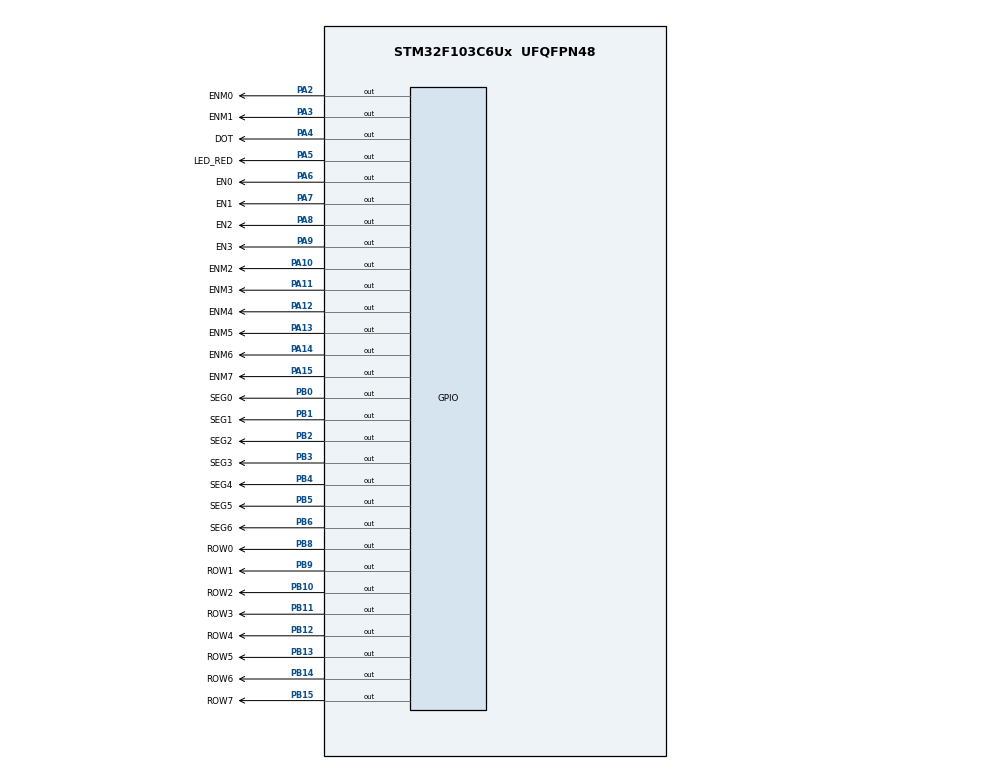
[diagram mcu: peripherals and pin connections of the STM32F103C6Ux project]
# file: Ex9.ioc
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Mcu.Family=STM32F1
Mcu.Name=STM32F103C6Ux
Mcu.Package=UFQFPN48
NVIC.PriorityGroup=NVIC_PRIORITYGROUP_4
NVIC.TIM2_IRQn=true\:0\:0\:false\:false\:true\:true\:true
PA10.GPIO_Label=ENM2
PA10.Signal=GPIO_Output
PA11.GPIO_Label=ENM3
PA11.Signal=GPIO_Output
PA12.GPIO_Label=ENM4
PA12.Signal=GPIO_Output
PA13.GPIO_Label=ENM5
PA13.Signal=GPIO_Output
PA14.GPIO_Label=ENM6
PA14.Signal=GPIO_Output
PA15.GPIO_Label=ENM7
PA15.Signal=GPIO_Output
PA2.GPIO_Label=ENM0
PA2.Signal=GPIO_Output
PA3.GPIO_Label=ENM1
PA3.Signal=GPIO_Output
PA4.GPIO_Label=DOT
PA4.Signal=GPIO_Output
PA5.GPIO_Label=LED_RED
PA5.Signal=GPIO_Output
PA6.GPIO_Label=EN0
PA6.Signal=GPIO_Output
PA7.GPIO_Label=EN1
PA7.Signal=GPIO_Output
PA8.GPIO_Label=EN2
PA8.Signal=GPIO_Output
PA9.GPIO_Label=EN3
PA9.Signal=GPIO_Output
PB0.GPIO_Label=SEG0
PB0.Signal=GPIO_Output
PB1.GPIO_Label=SEG1
PB1.Signal=GPIO_Output
PB10.GPIO_Label=ROW2
PB10.Signal=GPIO_Output
PB11.GPIO_Label=ROW3
PB11.Signal=GPIO_Output
PB12.GPIO_Label=ROW4
PB12.Signal=GPIO_Output
PB13.GPIO_Label=ROW5
PB13.Signal=GPIO_Output
PB14.GPIO_Label=ROW6
PB14.Signal=GPIO_Output
PB15.GPIO_Label=ROW7
PB15.Signal=GPIO_Output
PB2.GPIO_Label=SEG2
PB2.Signal=GPIO_Output
PB3.GPIO_Label=SEG3
PB3.Signal=GPIO_Output
PB4.GPIO_Label=SEG4
PB4.Signal=GPIO_Output
PB5.GPIO_Label=SEG5
PB5.Signal=GPIO_Output
PB6.GPIO_Label=SEG6
PB6.Signal=GPIO_Output
PB8.GPIO_Label=ROW0
PB8.Signal=GPIO_Output
PB9.GPIO_Label=ROW1
PB9.Signal=GPIO_Output
ProjectManager.HeapSize=0x200
ProjectManager.StackSize=0x400
ProjectManager.TargetToolchain=STM32CubeIDE
RCC.APB1Freq_Value=8000000
RCC.APB2Freq_Value=8000000
TIM2.Period=9
TIM2.Prescaler=7999
VP_SYS_VS_ND.Mode=No_Debug
VP_TIM2_VS_ClockSourceINT.Mode=Internal
board=custom

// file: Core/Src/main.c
/* USER CODE BEGIN Header */
/**
  ******************************************************************************
  * @file           : main.c
  * @brief          : Main program body
  ******************************************************************************
  * @attention
  *
  * <h2><center>&copy; Copyright (c) 2026 STMicroelectronics.
  * All rights reserved.</center></h2>
  *
  * This software component is licensed by ST under BSD 3-Clause license,
  * the "License"; You may not use this file except in compliance with the
  * License. You may obtain a copy of the License at:
  *                        opensource.org/licenses/BSD-3-Clause
  *
  ******************************************************************************
  */
/* USER CODE END Header */
#include "main.h"

/* USER CODE BEGIN Includes */
#include "led7seg.h"
#include "software_timer.h"
#include "led_matrix.h"
/* USER CODE END Includes */

TIM_HandleTypeDef htim2;

void SystemClock_Config(void);
static void MX_GPIO_Init(void);
static void MX_TIM2_Init(void);

int main(void)
{

  /* MCU Configuration--------------------------------------------------------*/

  /* Reset of all peripherals, Initializes the Flash interface and the Systick. */
  HAL_Init();

  /* Configure the system clock */
  SystemClock_Config();

  /* Initialize all configured peripherals */
  MX_GPIO_Init();
  MX_TIM2_Init();
  /* USER CODE BEGIN 2 */
  HAL_TIM_Base_Start_IT(&htim2);
  int hour = 15, minute = 8, second = 50;
  updateClockBuffer(hour, minute);

  update7SEG(index_led++);
  updateLEDMatrix(index_led_matrix++);

  setTimer0(1000);  // line test for report 1,2,3
  setTimer1(10);
  setTimer2(10);
  /* USER CODE END 2 */

  /* Infinite loop */
  /* USER CODE BEGIN WHILE */
  while (1)
  {
	  if (timer0_flag == 1) {

		  setTimer0(1000);

		  HAL_GPIO_TogglePin(DOT_GPIO_Port, DOT_Pin);
		  HAL_GPIO_TogglePin(LED_RED_GPIO_Port, LED_RED_Pin);

		  second++;
		  if (second >= 60) {
			  second = 0;
			  minute++;
		  }
		  if (minute >= 60) {
			  minute = 0;
			  hour++;
		  }
		  if (hour >= 24) {
			  hour = 0;
		  }
		  updateClockBuffer(hour, minute);

		  //shiftLeftLEDMatrix(); //
	  }

	  if (timer1_flag == 1) {
		  setTimer1(250);

		  update7SEG(index_led++);
		  if (index_led >= MAX_LED) {
			  index_led = 0;
		  }
	  }

	  if (timer2_flag == 1) {
		  setTimer2(10);
		  updateLEDMatrix(index_led_matrix++);

		  if (index_led_matrix >= MAX_LED_MATRIX) {
			  index_led_matrix = 0;

			  //shiftLeftLEDMatrix();
		  }
	  }
    /* USER CODE END WHILE */

  }
}

void SystemClock_Config(void)
{
  RCC_OscInitTypeDef RCC_OscInitStruct = {0};
  RCC_ClkInitTypeDef RCC_ClkInitStruct = {0};

  /** Initializes the RCC Oscillators according to the specified parameters
  * in the RCC_OscInitTypeDef structure.
  */
  RCC_OscInitStruct.OscillatorType = RCC_OSCILLATORTYPE_HSI;
  RCC_OscInitStruct.HSIState = RCC_HSI_ON;
  RCC_OscInitStruct.HSICalibrationValue = RCC_HSICALIBRATION_DEFAULT;
  RCC_OscInitStruct.PLL.PLLState = RCC_PLL_NONE;
  if (HAL_RCC_OscConfig(&RCC_OscInitStruct) != HAL_OK)
  {
    Error_Handler();
  }
  /** Initializes the CPU, AHB and APB buses clocks
  */
  RCC_ClkInitStruct.ClockType = RCC_CLOCKTYPE_HCLK|RCC_CLOCKTYPE_SYSCLK
                              |RCC_CLOCKTYPE_PCLK1|RCC_CLOCKTYPE_PCLK2;
  RCC_ClkInitStruct.SYSCLKSource = RCC_SYSCLKSOURCE_HSI;
  RCC_ClkInitStruct.AHBCLKDivider = RCC_SYSCLK_DIV1;
  RCC_ClkInitStruct.APB1CLKDivider = RCC_HCLK_DIV1;
  RCC_ClkInitStruct.APB2CLKDivider = RCC_HCLK_DIV1;

  if (HAL_RCC_ClockConfig(&RCC_ClkInitStruct, FLASH_LATENCY_0) != HAL_OK)
  {
    Error_Handler();
  }
}

static void MX_TIM2_Init(void)
{

  TIM_ClockConfigTypeDef sClockSourceConfig = {0};
  TIM_MasterConfigTypeDef sMasterConfig = {0};

  htim2.Instance = TIM2;
  htim2.Init.Prescaler = 7999;
  htim2.Init.CounterMode = TIM_COUNTERMODE_UP;
  htim2.Init.Period = 9;
  htim2.Init.ClockDivision = TIM_CLOCKDIVISION_DIV1;
  htim2.Init.AutoReloadPreload = TIM_AUTORELOAD_PRELOAD_DISABLE;
  if (HAL_TIM_Base_Init(&htim2) != HAL_OK)
  {
    Error_Handler();
  }
  sClockSourceConfig.ClockSource = TIM_CLOCKSOURCE_INTERNAL;
  if (HAL_TIM_ConfigClockSource(&htim2, &sClockSourceConfig) != HAL_OK)
  {
    Error_Handler();
  }
  sMasterConfig.MasterOutputTrigger = TIM_TRGO_RESET;
  sMasterConfig.MasterSlaveMode = TIM_MASTERSLAVEMODE_DISABLE;
  if (HAL_TIMEx_MasterConfigSynchronization(&htim2, &sMasterConfig) != HAL_OK)
  {
    Error_Handler();
  }

}

static void MX_GPIO_Init(void)
{
  GPIO_InitTypeDef GPIO_InitStruct = {0};

  /* GPIO Ports Clock Enable */
  __HAL_RCC_GPIOA_CLK_ENABLE();
  __HAL_RCC_GPIOB_CLK_ENABLE();

  /*Configure GPIO pin Output Level */
  HAL_GPIO_WritePin(GPIOA, ENM0_Pin|ENM1_Pin|DOT_Pin|LED_RED_Pin
                          |EN0_Pin|EN1_Pin|EN2_Pin|EN3_Pin
                          |ENM2_Pin|ENM3_Pin|ENM4_Pin|ENM5_Pin
                          |ENM6_Pin|ENM7_Pin, GPIO_PIN_RESET);

  /*Configure GPIO pin Output Level */
  HAL_GPIO_WritePin(GPIOB, SEG0_Pin|SEG1_Pin|SEG2_Pin|ROW2_Pin
                          |ROW3_Pin|ROW4_Pin|ROW5_Pin|ROW6_Pin
                          |ROW7_Pin|SEG3_Pin|SEG4_Pin|SEG5_Pin
                          |SEG6_Pin|ROW0_Pin|ROW1_Pin, GPIO_PIN_RESET);

  /*Configure GPIO pins : ENM0_Pin ENM1_Pin DOT_Pin LED_RED_Pin
                           EN0_Pin EN1_Pin EN2_Pin EN3_Pin
                           ENM2_Pin ENM3_Pin ENM4_Pin ENM5_Pin
                           ENM6_Pin ENM7_Pin */
  GPIO_InitStruct.Pin = ENM0_Pin|ENM1_Pin|DOT_Pin|LED_RED_Pin
                          |EN0_Pin|EN1_Pin|EN2_Pin|EN3_Pin
                          |ENM2_Pin|ENM3_Pin|ENM4_Pin|ENM5_Pin
                          |ENM6_Pin|ENM7_Pin;
  GPIO_InitStruct.Mode = GPIO_MODE_OUTPUT_PP;
  GPIO_InitStruct.Pull = GPIO_NOPULL;
  GPIO_InitStruct.Speed = GPIO_SPEED_FREQ_LOW;
  HAL_GPIO_Init(GPIOA, &GPIO_InitStruct);

  /*Configure GPIO pins : SEG0_Pin SEG1_Pin SEG2_Pin ROW2_Pin
                           ROW3_Pin ROW4_Pin ROW5_Pin ROW6_Pin
                           ROW7_Pin SEG3_Pin SEG4_Pin SEG5_Pin
                           SEG6_Pin ROW0_Pin ROW1_Pin */
  GPIO_InitStruct.Pin = SEG0_Pin|SEG1_Pin|SEG2_Pin|ROW2_Pin
                          |ROW3_Pin|ROW4_Pin|ROW5_Pin|ROW6_Pin
                          |ROW7_Pin|SEG3_Pin|SEG4_Pin|SEG5_Pin
                          |SEG6_Pin|ROW0_Pin|ROW1_Pin;
  GPIO_InitStruct.Mode = GPIO_MODE_OUTPUT_PP;
  GPIO_InitStruct.Pull = GPIO_NOPULL;
  GPIO_InitStruct.Speed = GPIO_SPEED_FREQ_LOW;
  HAL_GPIO_Init(GPIOB, &GPIO_InitStruct);

}

/* USER CODE BEGIN 4 */
int counter_7seg = 1;
//int counter_dot = 100; // 100*10ms = 1000ms (1s)

void HAL_TIM_PeriodElapsedCallback(TIM_HandleTypeDef *htim)
{

	timer_run();

}
/* USER CODE END 4 */

void Error_Handler(void)
{
  __disable_irq();
  while (1)
  {
  }
}

/************************ (C) COPYRIGHT STMicroelectronics *****END OF FILE****/
